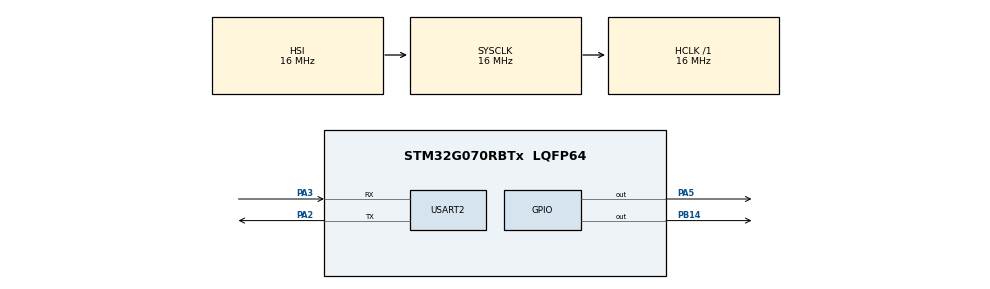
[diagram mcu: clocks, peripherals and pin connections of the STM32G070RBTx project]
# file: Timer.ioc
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Mcu.Family=STM32G0
Mcu.Name=STM32G070RBTx
Mcu.Package=LQFP64
NVIC.TIM3_IRQn=true\:3\:0\:false\:false\:true\:false\:true\:true
NVIC.TimeBase=TIM3_IRQn
NVIC.TimeBaseIP=TIM3
PA13.Mode=Serial_Wire
PA13.Signal=SYS_SWDIO
PA14-BOOT0.Mode=Serial_Wire
PA14-BOOT0.Signal=SYS_SWCLK
PA2.Mode=Asynchronous
PA2.Signal=USART2_TX
PA3.Mode=Asynchronous
PA3.Signal=USART2_RX
PA5.Signal=GPIO_Output
PB14.Signal=GPIO_Output
PC14-OSC32_IN\ (PC14).Mode=LSE-External-Oscillator
PC14-OSC32_IN\ (PC14).Signal=RCC_OSC32_IN
PC15-OSC32_OUT\ (PC15).Mode=LSE-External-Oscillator
PC15-OSC32_OUT\ (PC15).Signal=RCC_OSC32_OUT
PF0-OSC_IN\ (PF0).Mode=HSE-External-Clock-Source
PF0-OSC_IN\ (PF0).Signal=RCC_OSC_IN
ProjectManager.HeapSize=0x200
ProjectManager.StackSize=0x400
ProjectManager.TargetToolchain=STM32CubeIDE
RCC.AHBFreq_Value=16000000
RCC.CortexFreq_Value=16000000
RCC.EXTERNAL_CLOCK_VALUE=12288000
RCC.HCLKFreq_Value=16000000
RCC.HSE_VALUE=8000000
RCC.HSI_VALUE=16000000
RCC.SYSCLKFreq_VALUE=16000000
RCC.VCOOutputFreq_Value=128000000
USART2.VirtualMode-Asynchronous=VM_ASYNC
VP_SYS_VS_tim3.Mode=TIM3
board=NUCLEO-G070RB

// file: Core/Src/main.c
/* USER CODE BEGIN Header */
/**
  ******************************************************************************
  * @file           : main.c
  * @brief          : Main program body
  ******************************************************************************
  * @attention
  *
  * Copyright (c) 2023 STMicroelectronics.
  * All rights reserved.
  *
  * This software is licensed under terms that can be found in the LICENSE file
  * in the root directory of this software component.
  * If no LICENSE file comes with this software, it is provided AS-IS.
  *
  ******************************************************************************
  */
/* USER CODE END Header */
#include "main.h"
#include <stdio.h>
#include <string.h>

/* USER CODE BEGIN Includes */
#include "FreeRTOS.h"
#include "task.h"
#include "timers.h"

/* USER CODE END Includes */

UART_HandleTypeDef huart2;

/* USER CODE BEGIN PV */
TimerHandle_t OneshotHandle=NULL, AutoreloadHandle=NULL;

/* USER CODE END PV */

void SystemClock_Config(void);
static void MX_GPIO_Init(void);
static void MX_USART2_UART_Init(void);
/* USER CODE BEGIN PFP */
void OneshotCallback(TimerHandle_t timer);
void AutoreloadCallback(TimerHandle_t timer);

/* USER CODE END PFP */

/* USER CODE BEGIN 0 */
void delay(unsigned int a)
{
	unsigned int i,j;
	for(i=0;i<a;i++)
	for(j=0;j<5000;j++);
}
void transmit(void)
{
	uint8_t data[] = "BOTH TIMERS CREATED\r\n";
	HAL_UART_Transmit(&huart2, data, sizeof(data), 1000);
}
void OneshotCallback(TimerHandle_t timer)
{
	uint8_t data[] = "ONESHOT EXECUTING\r\n";
	HAL_UART_Transmit(&huart2, data, sizeof(data), 1000);
	HAL_GPIO_WritePin(GPIOA,GPIO_PIN_5,SET);
	delay(100);
}

void AutoreloadCallback(TimerHandle_t timer)
{
	uint8_t data[] = "AUTORELOAD EXECUTE\r\n";
	HAL_UART_Transmit(&huart2, data, sizeof(data), 1000);
	HAL_GPIO_TogglePin(GPIOB,GPIO_PIN_14);
	delay(100);
}

/* USER CODE END 0 */

int main(void)
{

  /* MCU Configuration--------------------------------------------------------*/

  /* Reset of all peripherals, Initializes the Flash interface and the Systick. */
  HAL_Init();

  /* Configure the system clock */
  SystemClock_Config();

  /* Initialize all configured peripherals */
  MX_GPIO_Init();
  MX_USART2_UART_Init();
  /* USER CODE BEGIN 2 */
  OneshotHandle=xTimerCreate("Oneshot", 1000, pdFALSE,0, OneshotCallback);

  AutoreloadHandle=xTimerCreate("Autoreload", 2000, pdTRUE,0, AutoreloadCallback);

  if(OneshotHandle != NULL && AutoreloadHandle != NULL)
  {

  	xTimerStart(OneshotHandle,0);
  	xTimerStart(AutoreloadHandle,0);
  }

   vTaskStartScheduler();

  /* USER CODE END 2 */

  /* Infinite loop */
  while (1)
  {

  }
}

void SystemClock_Config(void)
{
  RCC_OscInitTypeDef RCC_OscInitStruct = {0};
  RCC_ClkInitTypeDef RCC_ClkInitStruct = {0};

  /** Configure the main internal regulator output voltage
  */
  HAL_PWREx_ControlVoltageScaling(PWR_REGULATOR_VOLTAGE_SCALE1);

  /** Initializes the RCC Oscillators according to the specified parameters
  * in the RCC_OscInitTypeDef structure.
  */
  RCC_OscInitStruct.OscillatorType = RCC_OSCILLATORTYPE_HSI;
  RCC_OscInitStruct.HSIState = RCC_HSI_ON;
  RCC_OscInitStruct.HSIDiv = RCC_HSI_DIV1;
  RCC_OscInitStruct.HSICalibrationValue = RCC_HSICALIBRATION_DEFAULT;
  RCC_OscInitStruct.PLL.PLLState = RCC_PLL_NONE;
  if (HAL_RCC_OscConfig(&RCC_OscInitStruct) != HAL_OK)
  {
    Error_Handler();
  }

  /** Initializes the CPU, AHB and APB buses clocks
  */
  RCC_ClkInitStruct.ClockType = RCC_CLOCKTYPE_HCLK|RCC_CLOCKTYPE_SYSCLK
                              |RCC_CLOCKTYPE_PCLK1;
  RCC_ClkInitStruct.SYSCLKSource = RCC_SYSCLKSOURCE_HSI;
  RCC_ClkInitStruct.AHBCLKDivider = RCC_SYSCLK_DIV1;
  RCC_ClkInitStruct.APB1CLKDivider = RCC_HCLK_DIV1;

  if (HAL_RCC_ClockConfig(&RCC_ClkInitStruct, FLASH_LATENCY_0) != HAL_OK)
  {
    Error_Handler();
  }
}

static void MX_USART2_UART_Init(void)
{

  huart2.Instance = USART2;
  huart2.Init.BaudRate = 115200;
  huart2.Init.WordLength = UART_WORDLENGTH_8B;
  huart2.Init.StopBits = UART_STOPBITS_1;
  huart2.Init.Parity = UART_PARITY_NONE;
  huart2.Init.Mode = UART_MODE_TX_RX;
  huart2.Init.HwFlowCtl = UART_HWCONTROL_NONE;
  huart2.Init.OverSampling = UART_OVERSAMPLING_16;
  huart2.Init.OneBitSampling = UART_ONE_BIT_SAMPLE_DISABLE;
  huart2.Init.ClockPrescaler = UART_PRESCALER_DIV1;
  huart2.AdvancedInit.AdvFeatureInit = UART_ADVFEATURE_NO_INIT;
  if (HAL_UART_Init(&huart2) != HAL_OK)
  {
    Error_Handler();
  }
  if (HAL_UARTEx_SetTxFifoThreshold(&huart2, UART_TXFIFO_THRESHOLD_1_8) != HAL_OK)
  {
    Error_Handler();
  }
  if (HAL_UARTEx_SetRxFifoThreshold(&huart2, UART_RXFIFO_THRESHOLD_1_8) != HAL_OK)
  {
    Error_Handler();
  }
  if (HAL_UARTEx_DisableFifoMode(&huart2) != HAL_OK)
  {
    Error_Handler();
  }

}

static void MX_GPIO_Init(void)
{
  GPIO_InitTypeDef GPIO_InitStruct = {0};

  /* GPIO Ports Clock Enable */
  __HAL_RCC_GPIOC_CLK_ENABLE();
  __HAL_RCC_GPIOF_CLK_ENABLE();
  __HAL_RCC_GPIOA_CLK_ENABLE();
  __HAL_RCC_GPIOB_CLK_ENABLE();

  /*Configure GPIO pin Output Level */
  HAL_GPIO_WritePin(GPIOA, GPIO_PIN_5, GPIO_PIN_RESET);

  /*Configure GPIO pin Output Level */
  HAL_GPIO_WritePin(GPIOB, GPIO_PIN_14, GPIO_PIN_RESET);

  /*Configure GPIO pin : PA5 */
  GPIO_InitStruct.Pin = GPIO_PIN_5;
  GPIO_InitStruct.Mode = GPIO_MODE_OUTPUT_PP;
  GPIO_InitStruct.Pull = GPIO_NOPULL;
  GPIO_InitStruct.Speed = GPIO_SPEED_FREQ_LOW;
  HAL_GPIO_Init(GPIOA, &GPIO_InitStruct);

  /*Configure GPIO pin : PB14 */
  GPIO_InitStruct.Pin = GPIO_PIN_14;
  GPIO_InitStruct.Mode = GPIO_MODE_OUTPUT_PP;
  GPIO_InitStruct.Pull = GPIO_NOPULL;
  GPIO_InitStruct.Speed = GPIO_SPEED_FREQ_LOW;
  HAL_GPIO_Init(GPIOB, &GPIO_InitStruct);

}

void HAL_TIM_PeriodElapsedCallback(TIM_HandleTypeDef *htim)
{
  if (htim->Instance == TIM3) {
    HAL_IncTick();
  }
}

void Error_Handler(void)
{
  __disable_irq();
  while (1)
  {
  }
}
